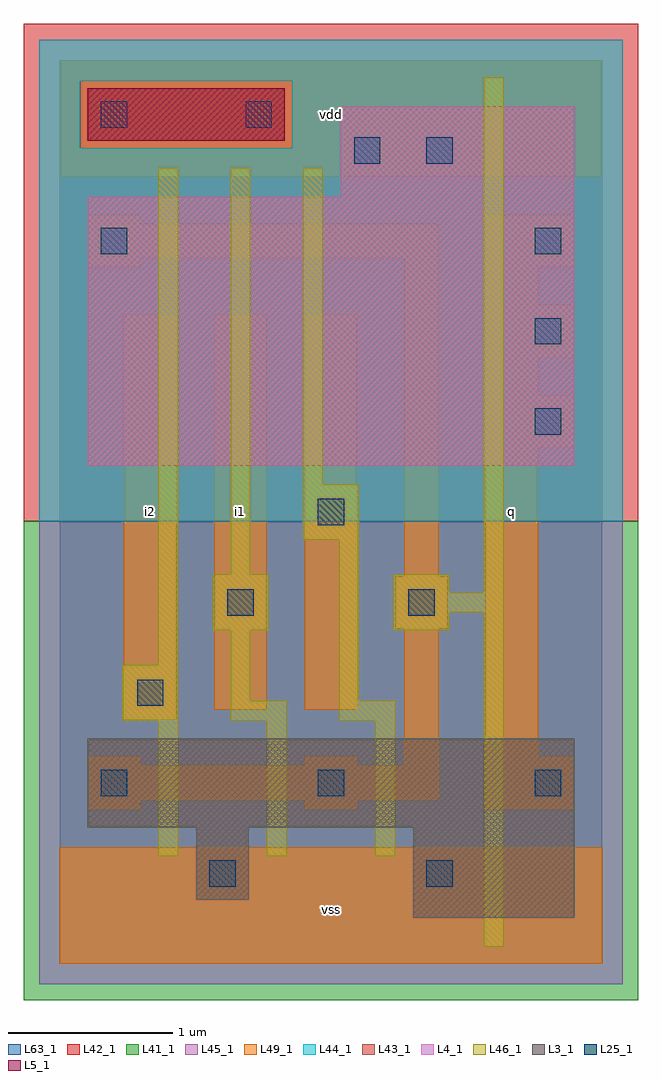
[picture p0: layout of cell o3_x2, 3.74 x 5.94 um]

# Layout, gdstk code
import gdstk
lib = gdstk.Library(unit=1e-6, precision=1e-09)
def R(c, l, rs):  # rectangles x0, y0, x1, y1
    for r in rs: c.add(gdstk.rectangle(r[:2], r[2:], *l))
def A(c, l, x, y, w, h, nx, ny, dx, dy):  # array of equal rectangles
    R(c, l, [(x+i*dx, y+j*dy, x+i*dx+w, y+j*dy+h) for i in range(nx) for j in range(ny)])
L3_1 = (3, 1)
L4_1 = (4, 1)
L5_1 = (5, 1)
L25_1 = (25, 1)
L41_1 = (41, 1)
L42_1 = (42, 1)
L43_1 = (43, 1)
L44_1 = (44, 1)
L45_1 = (45, 1)
L46_1 = (46, 1)
L49_1 = (49, 1)
L63_1 = (63, 1)

o3_x2 = lib.new_cell('o3_x2')
R(o3_x2, L3_1, [(2.15,0.28,3.13,0.83), (0.83,0.39,1.15,0.83), (0.17,0.83,3.13,1.37)])
R(o3_x2, L4_1, [(0.17,3.03,3.13,4.67), (1.71,4.67,3.13,5.22)])
R(o3_x2, L5_1, [(0.17,5.01,1.37,5.33)])
A(o3_x2, L25_1, 0.25, 1.02, 0.16, 0.16, 3, 1, 1.32, 0)
A(o3_x2, L25_1, 2.89, 3.22, 0.16, 0.16, 1, 3, 0, 0.55)
R(o3_x2, L25_1, [(0.91,0.47,1.07,0.63), (2.23,0.47,2.39,0.63), (0.47,1.57,0.63,1.73), (1.02,2.12,1.18,2.28), (2.12,2.12,2.28,2.28), (1.57,2.67,1.73,2.83), (0.25,4.32,0.41,4.48), (1.79,4.87,1.95,5.03), (2.23,4.87,2.39,5.03), (0.25,5.09,0.41,5.25), (1.13,5.09,1.29,5.25)])
R(o3_x2, L41_1, [(-0.22,-0.22,3.52,2.695)])
R(o3_x2, L42_1, [(-0.22,2.695,3.52,5.72)])
R(o3_x2, L43_1, [(2.15,0.28,3.13,0.83), (0.83,0.39,1.15,0.83), (0.17,0.83,3.13,1.37), (0.17,3.03,3.13,4.67), (1.71,4.67,3.13,5.22), (0.17,5.01,1.37,5.33)])
R(o3_x2, L44_1, [(-0.125,2.695,3.425,4.965), (-0.125,4.965,0.125,5.375), (1.415,4.965,3.425,5.375), (-0.125,5.375,3.425,5.625)])
R(o3_x2, L45_1, [(-0.125,-0.125,3.425,2.695), (0.125,4.965,1.415,5.375)])
A(o3_x2, L46_1, 0.6, 0.655, 0.12, 0.825, 3, 1, 0.66, 0)
R(o3_x2, L46_1, [(2.58,0.105,2.7,2.14), (0.38,1.48,0.72,1.82), (1.04,1.48,1.38,1.6), (1.7,1.48,2.04,1.6), (1.04,1.6,1.16,2.03), (1.7,1.6,1.82,2.58), (0.6,1.82,0.72,4.845), (0.93,2.03,1.27,2.37), (2.03,2.03,2.37,2.14), (2.03,2.14,2.7,2.26), (2.03,2.26,2.37,2.37), (2.58,2.26,2.7,5.395), (1.04,2.37,1.16,4.845), (1.48,2.58,1.82,2.92), (1.48,2.92,1.6,4.845)])
A(o3_x2, L49_1, 2.59, 3.14, 0.54, 0.32, 1, 3, 0, 0.55)
R(o3_x2, L49_1, [(0,0,3.3,0.71), (0.17,0.94,0.49,0.995), (1.49,0.94,1.81,0.995), (2.59,0.94,3.13,1.26), (0.17,0.995,2.305,1.205), (0.17,1.205,0.49,1.26), (1.49,1.205,1.81,1.26), (2.095,1.205,2.305,2.04), (2.59,1.26,2.91,3.14), (0.39,1.49,0.71,3.955), (0.94,1.545,1.26,3.955), (1.49,1.545,1.81,3.955), (2.04,2.04,2.36,2.36), (2.095,2.36,2.305,4.295), (2.59,3.46,2.91,3.69), (2.59,4.01,2.91,4.24), (0.17,4.24,0.49,4.295), (0.17,4.295,2.305,4.505), (0.17,4.505,0.49,4.56), (0,4.79,3.3,5.5)])
R(o3_x2, L63_1, [(0,0,3.3,5.5)])
o3_x2.add(gdstk.Label('i2', (0.55,2.75), layer=49, texttype=1))
o3_x2.add(gdstk.Label('i2', (0.55,2.75), layer=49, texttype=1))
o3_x2.add(gdstk.Label('i1', (1.1,2.75), layer=49, texttype=1))
o3_x2.add(gdstk.Label('i1', (1.1,2.75), layer=49, texttype=1))
o3_x2.add(gdstk.Label('vss', (1.65,0.33), layer=49, texttype=1))
o3_x2.add(gdstk.Label('vss', (1.65,0.33), layer=49, texttype=1))
o3_x2.add(gdstk.Label('vdd', (1.65,5.17), layer=49, texttype=1))
o3_x2.add(gdstk.Label('vdd', (1.65,5.17), layer=49, texttype=1))
o3_x2.add(gdstk.Label('q', (2.75,2.75), layer=49, texttype=1))
o3_x2.add(gdstk.Label('q', (2.75,2.75), layer=49, texttype=1))

lib.write_gds('o3_x2.gds')
